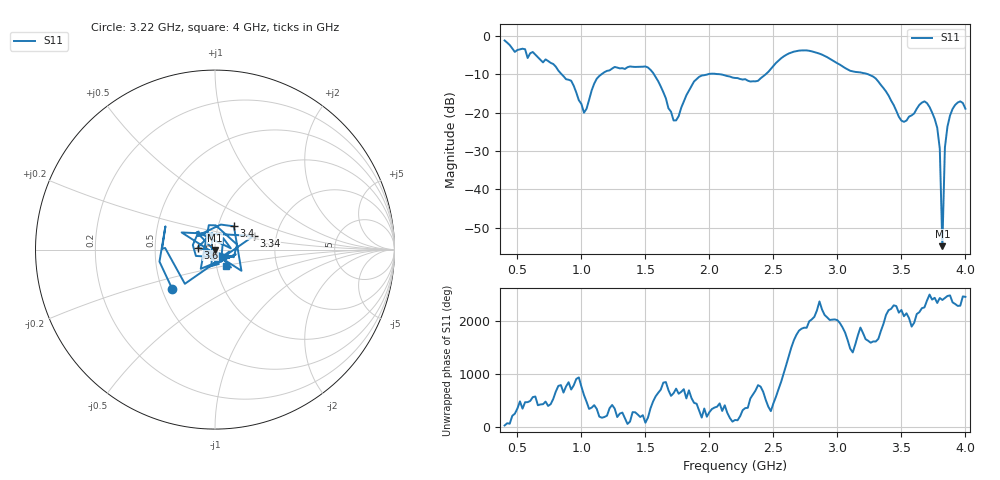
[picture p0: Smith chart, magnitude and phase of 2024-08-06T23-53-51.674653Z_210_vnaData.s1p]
!Created with skrf (http://scikit-rf.org).
# Hz S RI R 50.0
!freq ReS11 ImS11
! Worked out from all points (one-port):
!   181 points, 400 MHz to 4 GHz, reference 50 ohm
!   lowest |S11| = -54.8 dB at 3.82 GHz (marker M1), VSWR 1.00, Z = 49.9 - j0.164 ohm
!   |S11| at or under -10 dB: 1.567 GHz to 1.988 GHz (421.3 MHz wide, 23.7 % of centre); 2.084 GHz to 2.44 GHz (355.5 MHz wide, 15.7 % of centre); 3.24 GHz to end of sweep (the widest 3 of 4)
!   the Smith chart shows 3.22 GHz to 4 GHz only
!   S11 on the Smith chart (normalised r, x): 3.22 GHz: 0.57, -0.28; 3.34 GHz: 1.53, +0.25; 3.4 GHz: 1.19, +0.32; 3.6 GHz: 0.82, +0.02; 4 GHz: 1.11, -0.21
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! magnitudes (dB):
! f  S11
! 400 MHz  -1.2
! 860 MHz  -10.5
! 920 MHz  -11.7
! 1.02 GHz  -20.0
! 1.12 GHz  -11.1
! 1.3 GHz  -8.5
! 1.52 GHz  -8.2
! 1.72 GHz  -22.0
! 1.76 GHz  -20.9
! 1.92 GHz  -10.7
! 2.2 GHz  -11.0
! 2.38 GHz  -11.7
! 2.66 GHz  -4.1
! 3.1 GHz  -9.1
! 3.22 GHz  -9.8
! 3.34 GHz  -12.8
! 3.4 GHz  -15.6
! 3.5 GHz  -22.1
! 3.56 GHz  -21.0
! 3.6 GHz  -20.2
! 3.68 GHz  -17.1
! 3.78 GHz  -23.9
! 3.8 GHz  -29.4
! 3.82 GHz  -54.8
! 3.84 GHz  -29.0
! 3.86 GHz  -23.6
! 3.92 GHz  -18.0
! 4 GHz  -19.0
